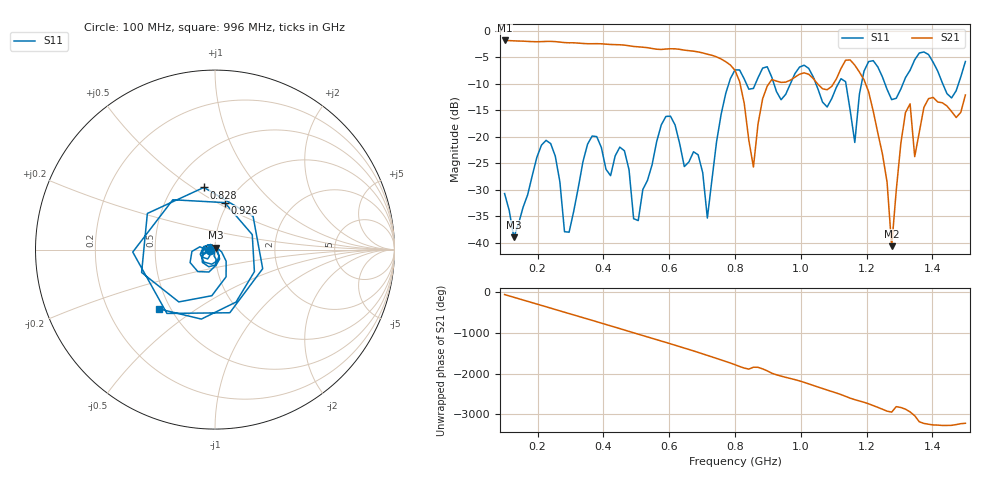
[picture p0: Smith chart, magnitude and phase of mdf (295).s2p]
! NanoVNA-App
! Date: 2025-09-25 15:40:43
! Start: 100MHz Stop: 1,5GHz Points: 101
! S-Parameter data: F S11 S21 S12 S22
# Hz S RI R 50
!  Frequency  S11_Real  S11_Imag  S21_Real  S21_Imag  S12_Real  S12_Imag  S22_Real  S22_Imag
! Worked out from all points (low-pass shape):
!   101 points, 100 MHz to 1.5 GHz, reference 50 ohm
!   highest |S21| = -1.80 dB at 100 MHz (marker M1); lowest = -40.7 dB at 1.276 GHz (marker M2)
!   |S21| within 3 dB of the highest: start of sweep to 739.2 MHz
!   lowest |S11| = -39.0 dB at 128 MHz (marker M3), VSWR 1.02, Z = 50.3 + j1.08 ohm
!   |S11| at or under -10 dB: start of sweep to 781 MHz; 918.4 MHz to 968.3 MHz (49.9 MHz wide, 5.29 % of centre); 1.046 GHz to 1.114 GHz (67.69 MHz wide, 6.27 % of centre) (the widest 3 of 7)
!   S12 and S22 are empty: the file has one direction only
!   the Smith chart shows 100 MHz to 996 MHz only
!   S11 on the Smith chart (normalised r, x): 100 MHz: 0.94, -0.01; 828 MHz: 0.70, +0.56; 926 MHz: 0.96, +0.54; 996 MHz: 0.43, -0.36
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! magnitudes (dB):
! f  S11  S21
! 100 MHz  -30.8  -1.8
! 128 MHz  -39.0  -1.9
! 212 MHz  -21.6  -2.0
! 282 MHz  -38.0  -2.2
! 338 MHz  -24.7  -2.4
! 464 MHz  -22.6  -2.7
! 506 MHz  -35.8  -3.0
! 576 MHz  -17.8  -3.5
! 716 MHz  -35.4  -4.4
! 800 MHz  -7.4  -7.4
! 828 MHz  -9.1  -13.7
! 856 MHz  -10.9  -25.7
! 926 MHz  -11.5  -9.5
! 996 MHz  -6.8  -8.2
! 1.038 GHz  -8.7  -9.0
! 1.136 GHz  -9.6  -5.5
! 1.164 GHz  -21.1  -6.5
! 1.192 GHz  -7.6  -9.2
! 1.276 GHz  -13.0  -40.7
! 1.318 GHz  -8.8  -15.4
! 1.346 GHz  -5.5  -23.8
! 1.5 GHz  -5.8  -12.1
